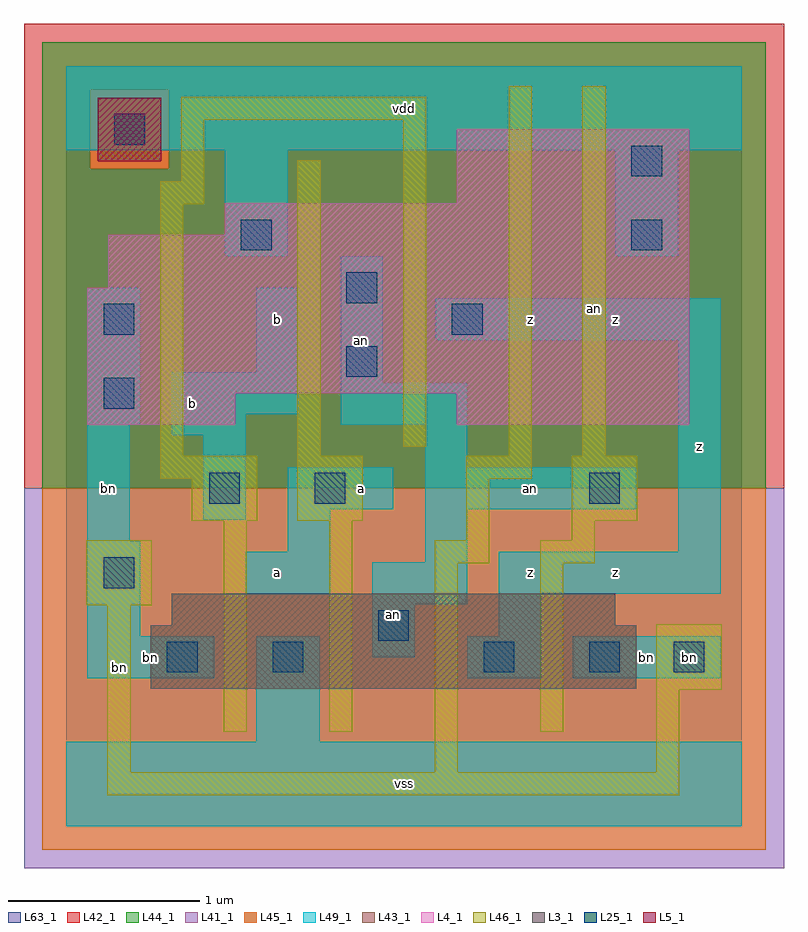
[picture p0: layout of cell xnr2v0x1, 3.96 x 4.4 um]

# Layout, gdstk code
import gdstk
lib = gdstk.Library(unit=1e-6, precision=1e-09)
def R(c, l, rs):  # rectangles x0, y0, x1, y1
    for r in rs: c.add(gdstk.rectangle(r[:2], r[2:], *l))
L3_1 = (3, 1)
L4_1 = (4, 1)
L5_1 = (5, 1)
L25_1 = (25, 1)
L41_1 = (41, 1)
L42_1 = (42, 1)
L43_1 = (43, 1)
L44_1 = (44, 1)
L45_1 = (45, 1)
L46_1 = (46, 1)
L49_1 = (49, 1)
L63_1 = (63, 1)

xnr2v0x1 = lib.new_cell('xnr2v0x1')
R(xnr2v0x1, L3_1, [(0.44,0.715,2.97,1.045), (0.55,1.045,2.86,1.21)])
R(xnr2v0x1, L4_1, [(0.11,2.09,0.88,2.255), (2.035,2.09,3.245,2.255), (0.11,2.255,3.245,2.805), (0.22,2.805,3.245,3.08), (0.825,3.08,3.245,3.245), (2.035,3.245,3.245,3.63)])
R(xnr2v0x1, L5_1, [(0.165,3.465,0.495,3.795)])
R(xnr2v0x1, L25_1, [(0.525,0.8,0.685,0.96), (1.075,0.8,1.235,0.96), (2.175,0.8,2.335,0.96), (2.725,0.8,2.885,0.96), (3.165,0.8,3.325,0.96), (1.625,0.965,1.785,1.125), (0.195,1.24,0.355,1.4), (0.745,1.68,0.905,1.84), (1.295,1.68,1.455,1.84), (2.725,1.68,2.885,1.84), (0.195,2.175,0.355,2.335), (1.46,2.34,1.62,2.5), (0.195,2.56,0.355,2.72), (2.01,2.56,2.17,2.72), (1.46,2.725,1.62,2.885), (0.91,3,1.07,3.16), (2.945,3,3.105,3.16), (2.945,3.385,3.105,3.545), (0.25,3.55,0.41,3.71)])
R(xnr2v0x1, L41_1, [(-0.22,-0.22,3.74,1.76)])
R(xnr2v0x1, L42_1, [(-0.22,1.76,3.74,4.18)])
R(xnr2v0x1, L43_1, [(0.44,0.715,2.97,1.045), (0.55,1.045,2.86,1.21), (0.11,2.09,0.88,2.255), (2.035,2.09,3.245,2.255), (0.11,2.255,3.245,2.805), (0.22,2.805,3.245,3.08), (0.825,3.08,3.245,3.245), (2.035,3.245,3.245,3.63), (0.165,3.465,0.495,3.795)])
R(xnr2v0x1, L44_1, [(-0.125,1.76,3.645,3.425), (-0.125,3.425,0.125,3.835), (0.535,3.425,3.645,3.835), (-0.125,3.835,3.645,4.085)])
R(xnr2v0x1, L45_1, [(-0.125,-0.125,3.645,1.76), (0.125,3.425,0.535,3.835)])
R(xnr2v0x1, L46_1, [(0.215,0.16,3.195,0.28), (0.215,0.28,0.335,1.15), (1.92,0.28,2.04,1.37), (3.075,0.28,3.195,0.71), (0.82,0.49,0.94,1.59), (1.37,0.49,1.49,1.59), (2.47,0.49,2.59,1.37), (3.075,0.71,3.415,1.05), (0.105,1.15,0.445,1.49), (1.92,1.37,2.205,1.49), (2.47,1.37,2.755,1.49), (2.085,1.49,2.205,1.81), (2.635,1.49,2.755,1.59), (0.655,1.59,0.995,1.81), (1.205,1.59,1.545,1.93), (2.635,1.59,2.975,1.93), (0.49,1.81,0.995,1.93), (2.085,1.81,2.425,1.93), (0.49,1.93,0.61,3.24), (1.205,1.93,1.325,3.47), (2.305,1.93,2.425,3.855), (2.69,1.93,2.81,3.855), (1.755,1.975,1.875,3.68), (0.49,3.24,0.72,3.36), (0.6,3.36,0.72,3.68), (0.6,3.68,1.875,3.8)])
R(xnr2v0x1, L49_1, [(0,0,3.52,0.44), (0.99,0.44,1.32,0.99), (0.11,0.77,0.77,0.99), (2.09,0.77,2.475,0.99), (2.64,0.77,3.41,0.99), (1.595,0.88,1.815,1.155), (0.11,0.99,0.385,1.485), (2.255,0.99,2.475,1.21), (1.595,1.155,2.09,1.375), (0.935,1.21,1.375,1.43), (2.255,1.21,3.41,1.43), (1.87,1.375,2.09,1.65), (1.155,1.43,1.375,1.65), (3.19,1.43,3.41,2.53), (0.11,1.485,0.33,2.09), (0.715,1.595,0.935,2.035), (1.155,1.65,1.705,1.87), (1.87,1.65,2.97,1.87), (1.87,1.87,2.09,2.09), (0.55,2.035,0.935,2.145), (0.11,2.09,0.385,2.805), (1.43,2.09,2.09,2.31), (0.55,2.145,1.21,2.365), (1.43,2.31,1.65,2.97), (0.99,2.365,1.21,2.805), (1.925,2.53,3.41,2.75), (0.825,2.97,1.155,3.52), (2.86,2.97,3.19,3.52), (0,3.52,3.52,3.96)])
R(xnr2v0x1, L63_1, [(0,0,3.52,3.96)])
xnr2v0x1.add(gdstk.Label('bn', (0.275,0.825), layer=46, texttype=1))
xnr2v0x1.add(gdstk.Label('bn', (3.245,0.88), layer=49, texttype=1))
xnr2v0x1.add(gdstk.Label('an', (2.75,2.695), layer=46, texttype=1))
xnr2v0x1.add(gdstk.Label('bn', (0.44,0.88), layer=49, texttype=1))
xnr2v0x1.add(gdstk.Label('b', (0.66,2.2), layer=49, texttype=1))
xnr2v0x1.add(gdstk.Label('bn', (0.22,1.76), layer=49, texttype=1))
xnr2v0x1.add(gdstk.Label('a', (1.1,1.32), layer=49, texttype=1))
xnr2v0x1.add(gdstk.Label('a', (1.54,1.76), layer=49, texttype=1))
xnr2v0x1.add(gdstk.Label('an', (1.54,2.53), layer=49, texttype=1))
xnr2v0x1.add(gdstk.Label('b', (1.1,2.64), layer=49, texttype=1))
xnr2v0x1.add(gdstk.Label('vss', (1.76,0.22), layer=49, texttype=1))
xnr2v0x1.add(gdstk.Label('an', (1.705,1.1), layer=49, texttype=1))
xnr2v0x1.add(gdstk.Label('z', (2.42,1.32), layer=49, texttype=1))
xnr2v0x1.add(gdstk.Label('z', (2.42,2.64), layer=49, texttype=1))
xnr2v0x1.add(gdstk.Label('vdd', (1.76,3.74), layer=49, texttype=1))
xnr2v0x1.add(gdstk.Label('bn', (3.025,0.88), layer=49, texttype=1))
xnr2v0x1.add(gdstk.Label('z', (2.86,1.32), layer=49, texttype=1))
xnr2v0x1.add(gdstk.Label('an', (2.42,1.76), layer=49, texttype=1))
xnr2v0x1.add(gdstk.Label('z', (3.3,1.98), layer=49, texttype=1))
xnr2v0x1.add(gdstk.Label('z', (2.86,2.64), layer=49, texttype=1))

lib.write_gds('xnr2v0x1.gds')
